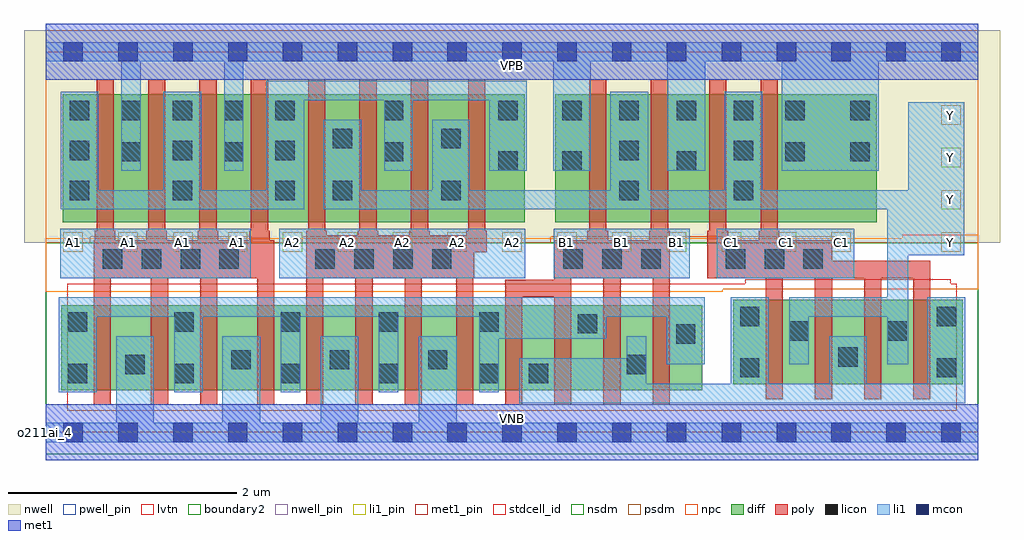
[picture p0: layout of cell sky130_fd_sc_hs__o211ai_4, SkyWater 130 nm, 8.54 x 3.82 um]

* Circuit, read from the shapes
.subckt sky130_fd_sc_hs__o211ai_4 A1 A2 B1 C1 VGND VNB VPB VPWR Y
XM1 VGND A1 n1 VNB sky130_fd_pr__nfet_01v8_lvt w=0.74 l=0.15 m=4
XM2 VGND A2 n1 VNB sky130_fd_pr__nfet_01v8_lvt w=0.74 l=0.15 m=4
XM3 n2 B1 n1 VNB sky130_fd_pr__nfet_01v8_lvt w=0.74 l=0.15 m=4
XM4 Y C1 n2 VNB sky130_fd_pr__nfet_01v8_lvt w=0.74 l=0.15 m=4
XM5 VPWR A1 n3 VPB sky130_fd_pr__pfet_01v8 w=1.12 l=0.15 m=4
XM6 Y A2 n3 VPB sky130_fd_pr__pfet_01v8 w=1.12 l=0.15 m=4
XM7 Y B1 VPWR VPB sky130_fd_pr__pfet_01v8 w=1.12 l=0.15 m=2
XM8 Y C1 VPWR VPB sky130_fd_pr__pfet_01v8 w=1.12 l=0.15 m=2
.ends

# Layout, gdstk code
import gdstk
lib = gdstk.Library(unit=1e-6, precision=1e-09)
def R(c, l, rs):  # rectangles x0, y0, x1, y1
    for r in rs: c.add(gdstk.rectangle(r[:2], r[2:], *l))
def A(c, l, x, y, w, h, nx, ny, dx, dy):  # array of equal rectangles
    R(c, l, [(x+i*dx, y+j*dy, x+i*dx+w, y+j*dy+h) for i in range(nx) for j in range(ny)])
def P(c, l, *ps):  # polygons
    for p in ps: c.add(gdstk.Polygon(p, *l))
nwell_pin = (64, 16)
nwell = (64, 20)
diff = (65, 20)
poly = (66, 20)
licon = (66, 44)
li1_pin = (67, 16)
li1 = (67, 20)
mcon = (67, 44)
met1_pin = (68, 16)
met1 = (68, 20)
stdcell_id = (81, 4)
nsdm = (93, 44)
psdm = (94, 20)
npc = (95, 20)
pwell_pin = (122, 16)
lvtn = (125, 44)
boundary2 = (236, 0)

sky130_fd_sc_hs__o211ai_ = lib.new_cell('sky130_fd_sc_hs__o211ai_4')
R(sky130_fd_sc_hs__o211ai_, nwell_pin, [(0,3.085,8.16,3.33)])
R(sky130_fd_sc_hs__o211ai_, nwell, [(-0.19,1.66,8.35,3.52)])
R(sky130_fd_sc_hs__o211ai_, diff, [(0.135,0.37,5.745,1.11), (6.015,0.42,8.025,1.16), (0.15,1.84,4.19,2.96), (4.46,1.84,7.27,2.96)])
P(sky130_fd_sc_hs__o211ai_, poly, [(2,1.68),(1.96,1.68),(1.96,1.765),(1.945,1.765),(1.945,3.09),(1.795,3.09),(1.795,1.765),(1.78,1.765),(1.78,1.68),(1.51,1.68),(1.51,1.765),(1.495,1.765),(1.495,3.09),(1.345,3.09),(1.345,1.765),(1.33,1.765),(1.33,1.68),(1.06,1.68),(1.06,1.765),(1.045,1.765),(1.045,3.09),(0.895,3.09),(0.895,1.765),(0.88,1.765),(0.88,1.68),(0.61,1.68),(0.61,1.765),(0.595,1.765),(0.595,3.09),(0.445,3.09),(0.445,1.765),(0.43,1.765),(0.43,1.68),(0.42,1.68),(0.42,0.24),(0.57,0.24),(0.57,1.35),(0.92,1.35),(0.92,0.24),(1.07,0.24),(1.07,1.35),(1.35,1.35),(1.35,0.24),(1.5,0.24),(1.5,1.35),(1.85,1.35),(1.85,0.24),(2,0.24)],
  [(3.86,1.765),(3.845,1.765),(3.845,3.09),(3.695,3.09),(3.695,1.765),(3.68,1.765),(3.68,1.725),(3.36,1.725),(3.36,1.765),(3.345,1.765),(3.345,3.09),(3.195,3.09),(3.195,1.765),(3.18,1.765),(3.18,1.725),(2.91,1.725),(2.91,1.765),(2.895,1.765),(2.895,3.09),(2.745,3.09),(2.745,1.765),(2.73,1.765),(2.73,1.725),(2.46,1.725),(2.46,1.765),(2.445,1.765),(2.445,3.09),(2.295,3.09),(2.295,1.765),(2.28,1.765),(2.28,0.24),(2.43,0.24),(2.43,1.35),(2.71,1.35),(2.71,0.24),(2.86,0.24),(2.86,1.35),(3.14,1.35),(3.14,0.24),(3.29,0.24),(3.29,1.35),(3.59,1.35),(3.59,0.24),(3.74,0.24),(3.74,1.35),(3.75,1.35),(3.75,1.575),(3.86,1.575)],
  [(5.46,1.765),(5.445,1.765),(5.445,3.09),(5.295,3.09),(5.295,1.765),(5.28,1.765),(5.28,1.68),(4.92,1.68),(4.92,1.765),(4.905,1.765),(4.905,3.09),(4.755,3.09),(4.755,1.765),(4.74,1.765),(4.74,1.68),(4.45,1.68),(4.45,1.335),(4.02,1.335),(4.02,0.24),(4.17,0.24),(4.17,1.185),(4.45,1.185),(4.45,0.24),(4.6,0.24),(4.6,1.35),(4.88,1.35),(4.88,0.24),(5.03,0.24),(5.03,1.35),(5.31,1.35),(5.31,0.24),(5.46,0.24)],
  [(7.74,1.5),(6.88,1.5),(6.88,1.68),(6.42,1.68),(6.42,1.765),(6.405,1.765),(6.405,3.09),(6.255,3.09),(6.255,1.765),(6.24,1.765),(6.24,1.68),(5.97,1.68),(5.97,1.765),(5.955,1.765),(5.955,3.09),(5.805,3.09),(5.805,1.765),(5.79,1.765),(5.79,1.35),(6.3,1.35),(6.3,0.29),(6.45,0.29),(6.45,1.35),(6.73,1.35),(6.73,0.29),(6.88,0.29),(6.88,1.35),(7.16,1.35),(7.16,0.29),(7.31,0.29),(7.31,1.35),(7.59,1.35),(7.59,0.29),(7.74,0.29)])
A(sky130_fd_sc_hs__o211ai_, licon, 0.195, 0.43, 0.17, 0.17, 3, 2, 0.93, 0.45)
A(sky130_fd_sc_hs__o211ai_, licon, 1.625, 0.55, 0.17, 0.17, 3, 1, 0.86, 0)
A(sky130_fd_sc_hs__o211ai_, licon, 0.5, 1.43, 0.17, 0.17, 4, 1, 0.34, 0)
A(sky130_fd_sc_hs__o211ai_, licon, 2.36, 1.43, 0.17, 0.17, 4, 1, 0.34, 0)
A(sky130_fd_sc_hs__o211ai_, licon, 4.53, 1.43, 0.17, 0.17, 3, 1, 0.34, 0)
A(sky130_fd_sc_hs__o211ai_, licon, 5.95, 1.43, 0.17, 0.17, 3, 1, 0.34, 0)
A(sky130_fd_sc_hs__o211ai_, licon, 0.21, 2.03, 0.17, 0.17, 3, 2, 0.9, 0.35)
A(sky130_fd_sc_hs__o211ai_, licon, 0.21, 2.73, 0.17, 0.17, 5, 1, 0.45, 0)
A(sky130_fd_sc_hs__o211ai_, licon, 4.52, 2.73, 0.17, 0.17, 4, 1, 0.5, 0)
R(sky130_fd_sc_hs__o211ai_, licon, [(2.915,0.43,3.085,0.6), (3.795,0.43,3.965,0.6), (4.225,0.43,4.395,0.6), (6.075,0.48,6.245,0.65), (7.795,0.48,7.965,0.65), (0.695,0.51,0.865,0.68), (5.085,0.51,5.255,0.68), (6.935,0.575,7.105,0.745), (5.515,0.775,5.685,0.945), (6.505,0.8,6.675,0.97), (7.365,0.8,7.535,0.97), (4.655,0.865,4.825,1.035), (2.915,0.88,3.085,1.05), (3.795,0.88,3.965,1.05), (6.075,0.93,6.245,1.1), (7.795,0.93,7.965,1.1), (2.51,2.03,2.68,2.2), (3.46,2.03,3.63,2.2), (5.02,2.03,5.19,2.2), (6.02,2.03,6.19,2.2), (3.96,2.29,4.13,2.46), (4.52,2.29,4.69,2.46), (5.52,2.29,5.69,2.46), (0.66,2.37,0.83,2.54), (1.56,2.37,1.73,2.54), (2.96,2.37,3.13,2.54), (6.47,2.37,6.64,2.54), (7.04,2.37,7.21,2.54), (5.02,2.38,5.19,2.55), (6.02,2.38,6.19,2.55), (2.51,2.485,2.68,2.655), (3.46,2.485,3.63,2.655), (2.96,2.73,3.13,2.9), (3.96,2.73,4.13,2.9), (6.47,2.73,6.64,2.9), (7.04,2.73,7.21,2.9)])
A(sky130_fd_sc_hs__o211ai_, li1_pin, 0.155, 1.58, 0.17, 0.17, 15, 1, 0.48, 0)
A(sky130_fd_sc_hs__o211ai_, li1_pin, 7.835, 1.58, 0.17, 0.17, 1, 4, 0, 0.37)
R(sky130_fd_sc_hs__o211ai_, li1, [(0.125,1.35,1.795,1.78), (2.045,1.35,4.195,1.78), (4.445,1.35,5.635,1.78), (5.87,1.35,7.075,1.78)])
P(sky130_fd_sc_hs__o211ai_, li1, [(0,-0.085),(0,0.085),(0.615,0.085),(0.615,0.84),(0.945,0.84),(0.945,0.085),(1.545,0.085),(1.545,0.84),(1.875,0.84),(1.875,0.085),(2.405,0.085),(2.405,0.84),(2.735,0.84),(2.735,0.085),(3.265,0.085),(3.265,0.84),(3.595,0.84),(3.595,0.085),(8.16,0.085),(8.16,-0.085)],
  [(0,3.245),(0,3.415),(8.16,3.415),(8.16,3.245),(7.29,3.245),(7.29,2.29),(6.44,2.29),(6.44,3.245),(5.77,3.245),(5.77,2.29),(5.44,2.29),(5.44,3.245),(4.77,3.245),(4.77,2.29),(4.44,2.29),(4.44,3.245),(1.73,3.245),(1.73,2.29),(1.56,2.29),(1.56,3.245),(0.83,3.245),(0.83,2.29),(0.66,2.29),(0.66,3.245)],
  [(8.035,1.55),(7.545,1.55),(7.545,0.595),(7.365,0.595),(7.365,1.01),(6.675,1.01),(6.675,0.595),(6.505,0.595),(6.505,1.18),(7.365,1.18),(7.365,1.95),(2.43,1.95),(2.43,2.735),(2.76,2.735),(2.76,2.12),(3.38,2.12),(3.38,2.735),(3.71,2.735),(3.71,2.12),(4.94,2.12),(4.94,2.98),(5.27,2.98),(5.27,2.12),(5.94,2.12),(5.94,2.98),(6.27,2.98),(6.27,2.12),(7.545,2.12),(7.545,2.89),(8.035,2.89)],
  [(0.46,2.12),(1.03,2.12),(1.03,2.98),(1.36,2.98),(1.36,2.12),(1.93,2.12),(1.93,3.075),(4.21,3.075),(4.21,2.29),(3.88,2.29),(3.88,2.905),(3.21,2.905),(3.21,2.29),(2.96,2.29),(2.96,2.905),(2.26,2.905),(2.26,1.95),(0.13,1.95),(0.13,2.98),(0.46,2.98)],
  [(7.185,0.425),(7.715,0.425),(7.715,1.18),(8.045,1.18),(8.045,0.255),(4.145,0.255),(4.145,0.65),(5.085,0.65),(5.085,0.84),(5.255,0.84),(5.255,0.425),(5.995,0.425),(5.995,1.18),(6.325,1.18),(6.325,0.425),(6.855,0.425),(6.855,0.84),(7.185,0.84)],
  [(1.125,0.35),(1.125,1.01),(0.445,1.01),(0.445,0.35),(0.115,0.35),(0.115,1.18),(5.765,1.18),(5.765,0.595),(5.435,0.595),(5.435,1.01),(4.905,1.01),(4.905,0.82),(3.965,0.82),(3.965,0.35),(3.795,0.35),(3.795,1.01),(3.085,1.01),(3.085,0.35),(2.915,0.35),(2.915,1.01),(2.225,1.01),(2.225,0.35),(2.055,0.35),(2.055,1.01),(1.375,1.01),(1.375,0.35)])
A(sky130_fd_sc_hs__o211ai_, mcon, 0.155, -0.085, 0.17, 0.17, 17, 2, 0.48, 3.33)
R(sky130_fd_sc_hs__o211ai_, met1_pin, [(0,0,8.16,0.245), (0,3.085,8.16,3.33)])
R(sky130_fd_sc_hs__o211ai_, met1, [(0,-0.245,8.16,0.245), (0,3.085,8.16,3.575)])
R(sky130_fd_sc_hs__o211ai_, stdcell_id, [(0,0,8.16,3.33)])
R(sky130_fd_sc_hs__o211ai_, nsdm, [(0,-0.19,8.16,1.66)])
P(sky130_fd_sc_hs__o211ai_, psdm, [(8.16,3.52),(0,3.52),(0,1.66),(0.39,1.66),(0.39,1.71),(1.8,1.71),(1.8,1.66),(2.25,1.66),(2.25,1.71),(3.66,1.71),(3.66,1.66),(4.42,1.66),(4.42,1.71),(6.91,1.71),(6.91,1.66),(8.16,1.66)])
P(sky130_fd_sc_hs__o211ai_, npc, [(8.16,1.73),(7.495,1.73),(7.495,1.7),(0,1.7),(0,1.23),(5.925,1.23),(5.925,1.25),(8.16,1.25)])
R(sky130_fd_sc_hs__o211ai_, pwell_pin, [(0,0,8.16,0.245)])
P(sky130_fd_sc_hs__o211ai_, lvtn, [(7.97,1.3),(7.92,1.3),(7.92,1.34),(6.12,1.34),(6.12,1.3),(0.19,1.3),(0.19,0.19),(7.97,0.19)])
R(sky130_fd_sc_hs__o211ai_, boundary2, [(0,0,8.16,3.33)])
sky130_fd_sc_hs__o211ai_.add(gdstk.Label('o211ai_4', (0,0), layer=83, texttype=44))
sky130_fd_sc_hs__o211ai_.add(gdstk.Label('VNB', (4.08,0.123), layer=64, texttype=59))
sky130_fd_sc_hs__o211ai_.add(gdstk.Label('VPB', (4.08,3.208), layer=64, texttype=5))
sky130_fd_sc_hs__o211ai_.add(gdstk.Label('VPWR', (4.08,3.208), layer=68, texttype=5))
sky130_fd_sc_hs__o211ai_.add(gdstk.Label('VGND', (4.08,0.123), layer=68, texttype=5))
sky130_fd_sc_hs__o211ai_.add(gdstk.Label('A1', (0.24,1.665), layer=67, texttype=5))
sky130_fd_sc_hs__o211ai_.add(gdstk.Label('A1', (0.72,1.665), layer=67, texttype=5))
sky130_fd_sc_hs__o211ai_.add(gdstk.Label('A1', (1.2,1.665), layer=67, texttype=5))
sky130_fd_sc_hs__o211ai_.add(gdstk.Label('A1', (1.68,1.665), layer=67, texttype=5))
sky130_fd_sc_hs__o211ai_.add(gdstk.Label('A2', (2.16,1.665), layer=67, texttype=5))
sky130_fd_sc_hs__o211ai_.add(gdstk.Label('A2', (2.64,1.665), layer=67, texttype=5))
sky130_fd_sc_hs__o211ai_.add(gdstk.Label('A2', (3.12,1.665), layer=67, texttype=5))
sky130_fd_sc_hs__o211ai_.add(gdstk.Label('A2', (3.6,1.665), layer=67, texttype=5))
sky130_fd_sc_hs__o211ai_.add(gdstk.Label('A2', (4.08,1.665), layer=67, texttype=5))
sky130_fd_sc_hs__o211ai_.add(gdstk.Label('B1', (4.56,1.665), layer=67, texttype=5))
sky130_fd_sc_hs__o211ai_.add(gdstk.Label('B1', (5.04,1.665), layer=67, texttype=5))
sky130_fd_sc_hs__o211ai_.add(gdstk.Label('B1', (5.52,1.665), layer=67, texttype=5))
sky130_fd_sc_hs__o211ai_.add(gdstk.Label('C1', (6,1.665), layer=67, texttype=5))
sky130_fd_sc_hs__o211ai_.add(gdstk.Label('C1', (6.48,1.665), layer=67, texttype=5))
sky130_fd_sc_hs__o211ai_.add(gdstk.Label('C1', (6.96,1.665), layer=67, texttype=5))
sky130_fd_sc_hs__o211ai_.add(gdstk.Label('Y', (7.92,1.665), layer=67, texttype=5))
sky130_fd_sc_hs__o211ai_.add(gdstk.Label('Y', (7.92,2.035), layer=67, texttype=5))
sky130_fd_sc_hs__o211ai_.add(gdstk.Label('Y', (7.92,2.405), layer=67, texttype=5))
sky130_fd_sc_hs__o211ai_.add(gdstk.Label('Y', (7.92,2.775), layer=67, texttype=5))

lib.write_gds('sky130_fd_sc_hs__o211ai_4.gds')
